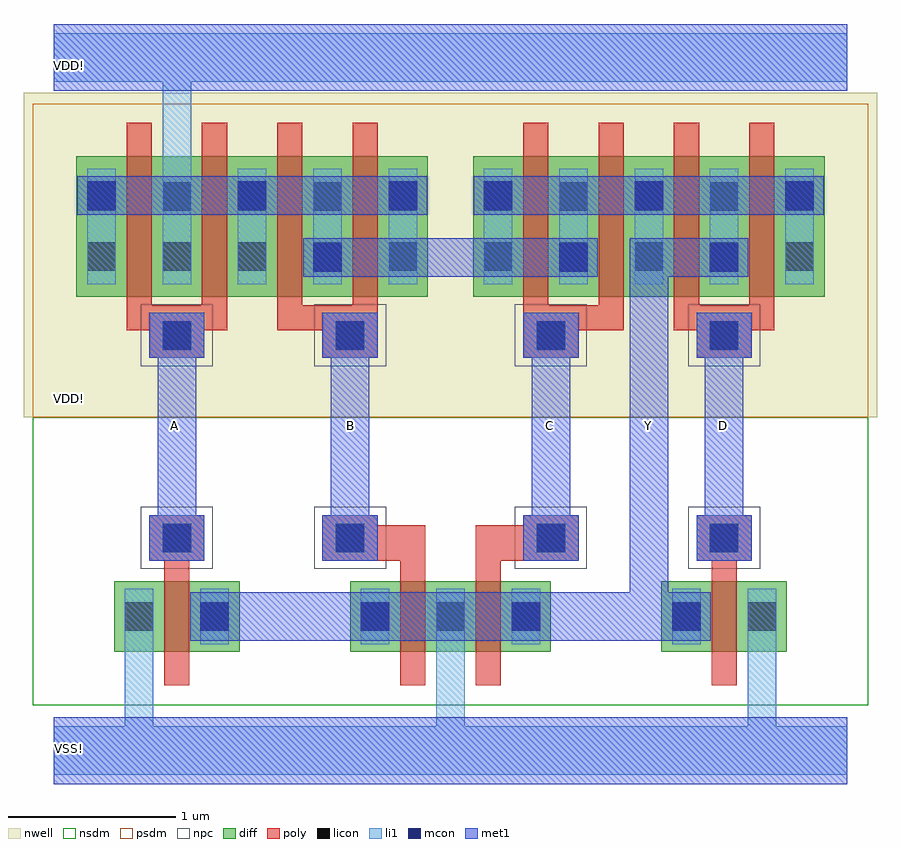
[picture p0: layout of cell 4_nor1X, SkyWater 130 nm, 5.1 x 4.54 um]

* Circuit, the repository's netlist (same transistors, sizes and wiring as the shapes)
** sch_path: /foss/designs/Curso_Semiconductores/4_nor1X/4_nor1X.sch
.subckt 4_nor1X A B C D Y VDD! VSS!
*.PININFO A:I B:I C:I Y:O D:I VDD!:B VSS!:B
XM2 net1 A VDD! VDD! sky130_fd_pr__pfet_01v8 L=0.15 W=0.84 nf=1 m=2
XM1 Y A VSS! VSS! sky130_fd_pr__nfet_01v8 L=0.15 W=0.42 nf=1
XM5 Y B VSS! VSS! sky130_fd_pr__nfet_01v8 L=0.15 W=0.42 nf=1
XM6 Y C VSS! VSS! sky130_fd_pr__nfet_01v8 L=0.15 W=0.42 nf=1
XM7 Y D VSS! VSS! sky130_fd_pr__nfet_01v8 L=0.15 W=0.42 nf=1
XM3 net2 B net1 VDD! sky130_fd_pr__pfet_01v8 L=0.15 W=0.84 nf=1 m=2
XM4 net3 C net2 VDD! sky130_fd_pr__pfet_01v8 L=0.15 W=0.84 nf=1 m=2
XM8 Y D net3 VDD! sky130_fd_pr__pfet_01v8 L=0.15 W=0.84 nf=1 m=2
.ends

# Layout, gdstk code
from math import pi, radians
import gdstk
lib = gdstk.Library(unit=1e-6, precision=1e-09)
def R(c, l, rs):  # rectangles x0, y0, x1, y1
    for r in rs: c.add(gdstk.rectangle(r[:2], r[2:], *l))
def A(c, l, x, y, w, h, nx, ny, dx, dy):  # array of equal rectangles
    R(c, l, [(x+i*dx, y+j*dy, x+i*dx+w, y+j*dy+h) for i in range(nx) for j in range(ny)])
nwell = (64, 20)
diff = (65, 20)
poly = (66, 20)
licon = (66, 44)
li1 = (67, 20)
mcon = (67, 44)
met1 = (68, 20)
nsdm = (93, 44)
psdm = (94, 20)
npc = (95, 20)

vias_gen = lib.new_cell('vias_gen')
R(vias_gen, poly, [(0,0,0.33,0.27)])
R(vias_gen, licon, [(0.08,0.05,0.25,0.22)])
R(vias_gen, li1, [(0,0,0.33,0.27)])
R(vias_gen, mcon, [(0.08,0.05,0.25,0.22)])
R(vias_gen, met1, [(0,0,0.33,0.27)])
R(vias_gen, npc, [(-0.05,-0.05,0.38,0.32)])

c_4_nor1x = lib.new_cell('4_nor1X')
A(c_4_nor1x, nwell, 9.06, 1.02, 1.36, 1.94, 3, 1, 0.45, 0)
A(c_4_nor1x, nwell, 10.98, 1.02, 1.36, 1.94, 3, 1, 0.45, 0)
R(c_4_nor1x, nwell, [(8.6,1.02,9.97,2.96), (12.33,1.02,13.7,2.96)])
A(c_4_nor1x, diff, 8.915, 1.74, 0.75, 0.84, 4, 1, 0.45, 0)
A(c_4_nor1x, diff, 11.285, 1.74, 0.75, 0.84, 4, 1, 0.45, 0)
R(c_4_nor1x, diff, [(9.14,-0.38,9.89,0.04), (10.55,-0.38,11.3,0.04), (11,-0.38,11.75,0.04), (12.41,-0.38,13.16,0.04)])
A(c_4_nor1x, poly, 9.215, 1.54, 0.15, 1.24, 4, 1, 0.45, 0)
A(c_4_nor1x, poly, 11.585, 1.54, 0.15, 1.24, 4, 1, 0.45, 0)
R(c_4_nor1x, poly, [(9.44,-0.58,9.59,0.24), (10.85,-0.58,11,0.24), (11.3,-0.58,11.45,0.24), (12.71,-0.58,12.86,0.24), (10.715,0.165,10.85,0.225), (11.45,0.165,11.585,0.225)])
R(c_4_nor1x, licon, [(9.205,-0.255,9.375,-0.085), (9.655,-0.255,9.825,-0.085), (10.615,-0.255,10.785,-0.085), (11.065,-0.255,11.235,-0.085), (11.065,-0.255,11.235,-0.085), (11.515,-0.255,11.685,-0.085), (12.475,-0.255,12.645,-0.085), (12.925,-0.255,13.095,-0.085), (8.98,1.895,9.15,2.065), (9.43,1.895,9.6,2.065), (9.43,1.895,9.6,2.065), (9.88,1.895,10.05,2.065), (9.88,1.895,10.05,2.065), (10.33,1.895,10.5,2.065), (10.33,1.895,10.5,2.065), (10.78,1.895,10.95,2.065), (11.35,1.895,11.52,2.065), (11.8,1.895,11.97,2.065), (11.8,1.895,11.97,2.065), (12.25,1.895,12.42,2.065), (12.25,1.895,12.42,2.065), (12.7,1.895,12.87,2.065), (12.7,1.895,12.87,2.065), (13.15,1.895,13.32,2.065), (8.98,2.255,9.15,2.425), (9.43,2.255,9.6,2.425), (9.43,2.255,9.6,2.425), (9.88,2.255,10.05,2.425), (9.88,2.255,10.05,2.425), (10.33,2.255,10.5,2.425), (10.33,2.255,10.5,2.425), (10.78,2.255,10.95,2.425), (11.35,2.255,11.52,2.425), (11.8,2.255,11.97,2.425), (11.8,2.255,11.97,2.425), (12.25,2.255,12.42,2.425), (12.25,2.255,12.42,2.425), (12.7,2.255,12.87,2.425), (12.7,2.255,12.87,2.425), (13.15,2.255,13.32,2.425)])
A(c_4_nor1x, li1, 8.98, 1.815, 0.17, 0.69, 3, 1, 0.45, 0)
R(c_4_nor1x, li1, [(8.78,-1.115,13.52,-0.825), (9.205,-0.335,9.375,-0.005), (9.655,-0.335,9.825,-0.005), (10.615,-0.335,10.785,-0.005), (11.065,-0.335,11.235,-0.005), (11.065,-0.335,11.235,-0.005), (11.515,-0.335,11.685,-0.005), (12.475,-0.335,12.645,-0.005), (12.925,-0.335,13.095,-0.005), (9.88,1.815,10.05,2.505), (10.33,1.815,10.5,2.505), (10.33,1.815,10.5,2.505), (10.78,1.815,10.95,2.505), (11.35,1.815,11.52,2.505), (11.8,1.815,11.97,2.505), (11.8,1.815,11.97,2.505), (12.25,1.815,12.42,2.505), (12.25,1.815,12.42,2.505), (12.7,1.815,12.87,2.505), (12.7,1.815,12.87,2.505), (13.15,1.815,13.32,2.505), (8.78,3.025,13.52,3.315)])
A(c_4_nor1x, mcon, 8.98, 2.26, 0.17, 0.17, 3, 1, 0.9, 0)
A(c_4_nor1x, mcon, 11.35, 2.26, 0.17, 0.17, 3, 1, 0.9, 0)
R(c_4_nor1x, mcon, [(9.655,-0.255,9.825,-0.085), (10.615,-0.255,10.785,-0.085), (11.515,-0.255,11.685,-0.085), (12.475,-0.255,12.645,-0.085), (10.33,1.89,10.5,2.06), (11.8,1.89,11.97,2.06), (12.7,1.89,12.87,2.06)])
R(c_4_nor1x, met1, [(8.78,-1.17,13.52,-0.77), (9.595,-0.315,9.885,-0.025), (10.555,-0.315,10.845,-0.025), (11.455,-0.315,11.745,-0.025), (12.415,-0.315,12.705,-0.025), (8.78,2.97,13.52,3.37)])
R(c_4_nor1x, nsdm, [(8.655,-0.7,13.645,1.02), (9.015,-0.505,10.015,0.165), (10.425,-0.505,11.425,0.165), (10.875,-0.505,11.875,0.165), (12.285,-0.505,13.285,0.165)])
A(c_4_nor1x, psdm, 8.79, 1.615, 1, 1.09, 4, 1, 0.45, 0)
A(c_4_nor1x, psdm, 11.16, 1.615, 1, 1.09, 4, 1, 0.45, 0)
R(c_4_nor1x, psdm, [(8.655,1.02,13.645,2.895)])
c_4_nor1x.add(gdstk.FlexPath([(9.215,1.615),(9.815,1.615)], 0.15, ends="flush", simple_path=True, layer=66, datatype=20))  # poly
c_4_nor1x.add(gdstk.FlexPath([(10.115,1.615),(10.715,1.615)], 0.15, ends="flush", simple_path=True, layer=66, datatype=20))  # poly
c_4_nor1x.add(gdstk.FlexPath([(11.585,1.615),(12.185,1.615)], 0.15, ends="flush", simple_path=True, layer=66, datatype=20))  # poly
c_4_nor1x.add(gdstk.FlexPath([(12.485,1.615),(13.085,1.615)], 0.15, ends="flush", simple_path=True, layer=66, datatype=20))  # poly
c_4_nor1x.add(gdstk.FlexPath([(10.715,0.3),(11,0.3)], 0.15, ends="flush", simple_path=True, layer=66, datatype=20))  # poly
c_4_nor1x.add(gdstk.FlexPath([(11.3,0.3),(11.585,0.3)], 0.15, ends="flush", simple_path=True, layer=66, datatype=20))  # poly
c_4_nor1x.add(gdstk.FlexPath([(9.515,2.505),(9.515,3.04)], 0.17, ends="flush", simple_path=True, layer=67, datatype=20))  # li1
c_4_nor1x.add(gdstk.FlexPath([(9.29,-0.335),(9.29,-0.825)], 0.17, ends="flush", simple_path=True, layer=67, datatype=20))  # li1
c_4_nor1x.add(gdstk.FlexPath([(13.01,-0.335),(13.01,-0.825)], 0.17, ends="flush", simple_path=True, layer=67, datatype=20))  # li1
c_4_nor1x.add(gdstk.FlexPath([(11.15,-0.335),(11.15,-0.825)], 0.17, ends="flush", simple_path=True, layer=67, datatype=20))  # li1
c_4_nor1x.add(gdstk.FlexPath([(11.01,2.345),(8.92,2.345)], 0.23, ends="flush", simple_path=True, layer=68, datatype=20))  # met1
c_4_nor1x.add(gdstk.FlexPath([(9.515,0.385),(9.515,1.375)], 0.23, ends="flush", simple_path=True, layer=68, datatype=20))  # met1
c_4_nor1x.add(gdstk.FlexPath([(12.785,0.385),(12.785,1.375)], 0.23, ends="flush", simple_path=True, layer=68, datatype=20))  # met1
c_4_nor1x.add(gdstk.FlexPath([(12.335,1.525),(12.335,1.815)], 0.23, ends="flush", simple_path=True, layer=68, datatype=20))  # met1
c_4_nor1x.add(gdstk.FlexPath([(10.55,0.385),(10.55,1.375)], 0.23, ends="flush", simple_path=True, layer=68, datatype=20))  # met1
c_4_nor1x.add(gdstk.FlexPath([(11.75,0.385),(11.75,1.375)], 0.23, ends="flush", simple_path=True, layer=68, datatype=20))  # met1
c_4_nor1x.add(gdstk.FlexPath([(9.885,-0.17),(12.415,-0.17)], 0.29, ends="flush", simple_path=True, layer=68, datatype=20))  # met1
c_4_nor1x.add(gdstk.FlexPath([(12.335,1.525),(12.335,-0.025)], 0.23, ends="flush", simple_path=True, layer=68, datatype=20))  # met1
c_4_nor1x.add(gdstk.FlexPath([(10.27,1.975),(12.03,1.975)], 0.23, ends="flush", simple_path=True, layer=68, datatype=20))  # met1
c_4_nor1x.add(gdstk.FlexPath([(13.38,2.345),(11.29,2.345)], 0.23, ends="flush", simple_path=True, layer=68, datatype=20))  # met1
c_4_nor1x.add(gdstk.FlexPath([(12.335,1.81),(12.335,1.975),(12.87,1.975)], 0.23, ends="flush", simple_path=True, layer=68, datatype=20))  # met1
c_4_nor1x.add(gdstk.FlexPath([(12.87,1.975),(12.93,1.975)], 0.23, ends="flush", simple_path=True, layer=68, datatype=20))  # met1
c_4_nor1x.add(gdstk.Reference(vias_gen, (9.35,1.375)))
c_4_nor1x.add(gdstk.Reference(vias_gen, (12.62,1.375)))
c_4_nor1x.add(gdstk.Reference(vias_gen, (11.585,1.375)))
c_4_nor1x.add(gdstk.Reference(vias_gen, (10.385,1.375)))
c_4_nor1x.add(gdstk.Reference(vias_gen, (11.915,0.165), rotation=pi, x_reflection=True))
c_4_nor1x.add(gdstk.Reference(vias_gen, (10.385,0.165)))
c_4_nor1x.add(gdstk.Reference(vias_gen, (12.62,0.165)))
c_4_nor1x.add(gdstk.Reference(vias_gen, (9.35,0.165)))
c_4_nor1x.add(gdstk.Label('VDD!', (8.873,3.123), layer=67, texttype=5))
c_4_nor1x.add(gdstk.Label('VSS!', (8.873,-0.96), layer=67, texttype=5))
c_4_nor1x.add(gdstk.Label('A', (9.5,0.97), layer=68, texttype=5))
c_4_nor1x.add(gdstk.Label('B', (10.55,0.97), layer=68, texttype=5))
c_4_nor1x.add(gdstk.Label('C', (11.74,0.97), layer=68, texttype=5))
c_4_nor1x.add(gdstk.Label('Y', (12.33,0.97), layer=68, texttype=5))
c_4_nor1x.add(gdstk.Label('D', (12.78,0.97), layer=68, texttype=5))
c_4_nor1x.add(gdstk.Label('VDD!', (8.873,1.13), layer=64, texttype=5))

lib.write_gds('4_nor1X.gds')
